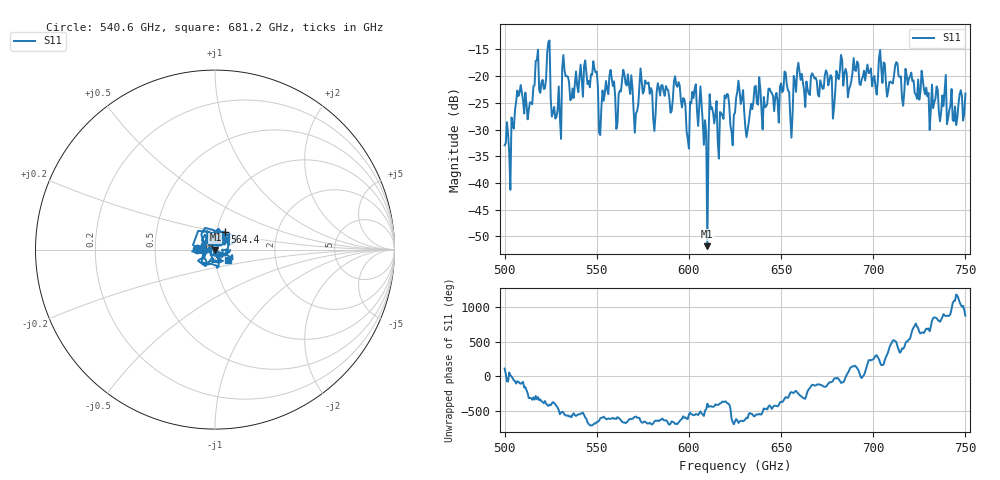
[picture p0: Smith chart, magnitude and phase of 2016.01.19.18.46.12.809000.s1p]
!Created with skrf (http://scikit-rf.org).
# GHz S RI R 50.0
!freq ReS11 ImS11
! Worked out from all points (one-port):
!   401 points, 500 GHz to 750 GHz, reference 50 ohm
!   lowest |S11| = -51.8 dB at 610 GHz (marker M1), VSWR 1.01, Z = 50.2 - j0.126 ohm
!   |S11| at or under -10 dB: start of sweep to end of sweep
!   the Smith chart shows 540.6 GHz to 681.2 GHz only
!   S11 on the Smith chart (normalised r, x): 540.6 GHz: 0.82, +0.01; 564.4 GHz: 1.10, +0.22; 681.2 GHz: 1.15, -0.14
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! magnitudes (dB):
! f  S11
! 500 GHz  -33.0
! 503.8 GHz  -27.8
! 508.1 GHz  -23.1
! 513.8 GHz  -24.9
! 516.9 GHz  -17.2
! 523.8 GHz  -13.6
! 526.9 GHz  -25.8
! 531.2 GHz  -18.5
! 540.6 GHz  -20.1
! 548.8 GHz  -18.6
! 552.5 GHz  -26.0
! 562.5 GHz  -22.7
! 564.4 GHz  -18.8
! 571.2 GHz  -27.0
! 575 GHz  -23.3
! 581.2 GHz  -30.3
! 593.8 GHz  -22.0
! 598.8 GHz  -30.4
! 603.1 GHz  -22.4
! 610 GHz  -51.8
! 612.5 GHz  -25.8
! 625 GHz  -26.9
! 656.2 GHz  -27.1
! 660 GHz  -19.2
! 681.2 GHz  -20.6
! 687.5 GHz  -21.9
! 718.8 GHz  -21.6
! 750 GHz  -23.3
